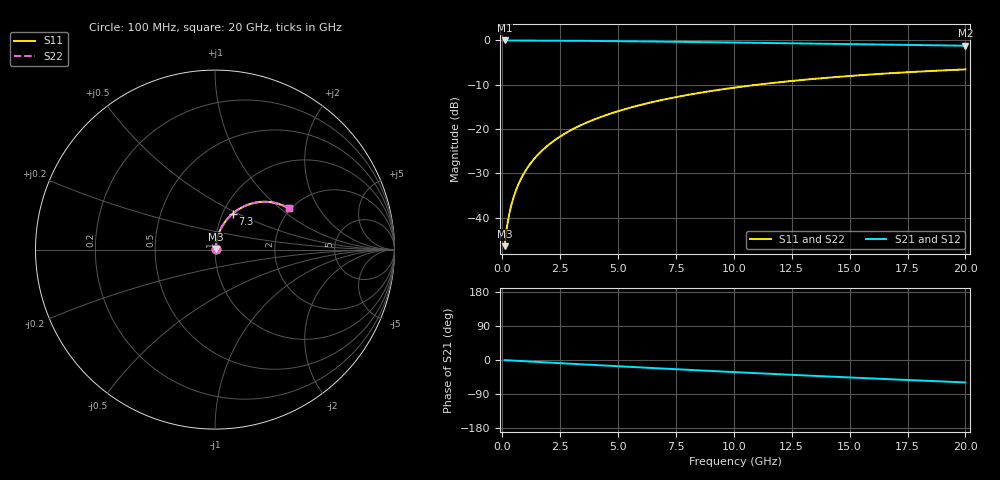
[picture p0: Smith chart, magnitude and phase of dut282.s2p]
! Touchstone file exported from HFSS 2026.1.0
!  File:  C:/ffzhzh/LocalFiles/Ansys_Project_Files/temp_train_BSMRDL_282_1782989114_6248.aedt
!  Generated:  06:46:38 PM Jul  2, 2026
!  Design:  BSMRDL
!  Project:  temp_train_BSMRDL_282_1782989114_6248
! Variables:
!  h_bsmrdl = 5.23um
!  h_ox = 20um
!  h_rdl = 5um
!  h_sub = 80um
!  h_tmrdl = 5um
!  h_tsv = 80um
!  h_via = 3um
!  l_bsmrdl = 944.66um
!  l_sub = 1344.66um
!  l_tmrdl = 200um
!  m_sub = 200um
!  pitch = 49.47um
!  r_tsv = 6um
!  s_tmrdl = 10um
!  w_bsmrdl = 21.81um
!  w_sub = 500um
!  w_tmrdl = 12um
!  x_tsv_center1 = 206um
!  x_tsv_center2 = 1172.47um
!  x_tsv_center3 = 1384.47um
!  x_tsv_center4 = 2350.94um
!  x_tsv_center5 = 2562.94um
!  x_tsv_center6 = 3529.41um
# GHz S MA R 50.000000
! Terminal data exported
! Port[1] = BSM_RDL1_1_T1
! Port[2] = BSM_RDL1_1_T2
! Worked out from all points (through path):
!   200 points, 100 MHz to 20 GHz, reference 50 ohm
!   highest |S21| = -0.03 dB at 100 MHz (marker M1); lowest = -1.2 dB at 20 GHz (marker M2)
!   group delay of S21, straight-line fit = 8.22 ps
!   lowest |S11| = -46.4 dB at 100 MHz (marker M3), VSWR 1.01, Z = 50.3 + j0.362 ohm
!   |S11| at or under -10 dB: start of sweep to 11.03 GHz
!   |S22| runs from -46.4 to -6.6 dB; largest |S21 - S12| = 1e-14
!   S11 on the Smith chart (normalised r, x): 100 MHz: 1.01, +0.01; 7.3 GHz: 1.11, +0.47; 20 GHz: 1.94, +1.15
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0.1  0.004768 49.0  0.9969 -0.4  0.9969 -0.4  0.004768 49.0
! Gamma 0 0 0 0
! Port Impedance 50 0 50 0
0.2  0.007808 64.1  0.9967 -0.7  0.9967 -0.7  0.007808 64.1
0.3  0.01098 70.4  0.9965 -1.0  0.9965 -1.0  0.01098 70.4
0.4  0.01418 73.8  0.9963 -1.4  0.9963 -1.4  0.01418 73.8
0.5  0.0174 76.0  0.9962 -1.7  0.9962 -1.7  0.0174 76.0
0.7  0.0239 78.3  0.9959 -2.4  0.9959 -2.4  0.0239 78.3
1  0.03371 79.7  0.9954 -3.4  0.9954 -3.4  0.03371 79.7
1.2  0.04026 79.9  0.995 -4.1  0.995 -4.1  0.04026 79.9
1.4  0.0468 79.9  0.9946 -4.7  0.9946 -4.7  0.0468 79.9
1.7  0.05657 79.6  0.9938 -5.7  0.9938 -5.7  0.05657 79.6
2  0.06628 79.0  0.9929 -6.7  0.9929 -6.7  0.06628 79.0
2.7  0.08864 77.3  0.9904 -9.0  0.9904 -9.0  0.08864 77.3
3.5  0.1136 75.0  0.987 -11.7  0.987 -11.7  0.1136 75.0
4.2  0.135 72.9  0.9835 -13.9  0.9835 -13.9  0.135 73.0
5  0.1588 70.6  0.9792 -16.5  0.9792 -16.5  0.1588 70.6
6.8  0.2099 65.2  0.9681 -22.2  0.9681 -22.2  0.2099 65.2
7.3  0.2235 63.7  0.9648 -23.7  0.9648 -23.7  0.2235 63.8
8.6  0.2576 60.0  0.9556 -27.7  0.9556 -27.7  0.2576 60.0
10.1  0.2946 55.6  0.9443 -32.2  0.9443 -32.2  0.2946 55.6
13.4  0.3663 46.4  0.9183 -41.7  0.9183 -41.7  0.3663 46.4
16.7  0.4247 37.7  0.8927 -50.7  0.8927 -50.7  0.4247 37.7
20  0.4701 29.3  0.8698 -59.2  0.8698 -59.2  0.47 29.4
